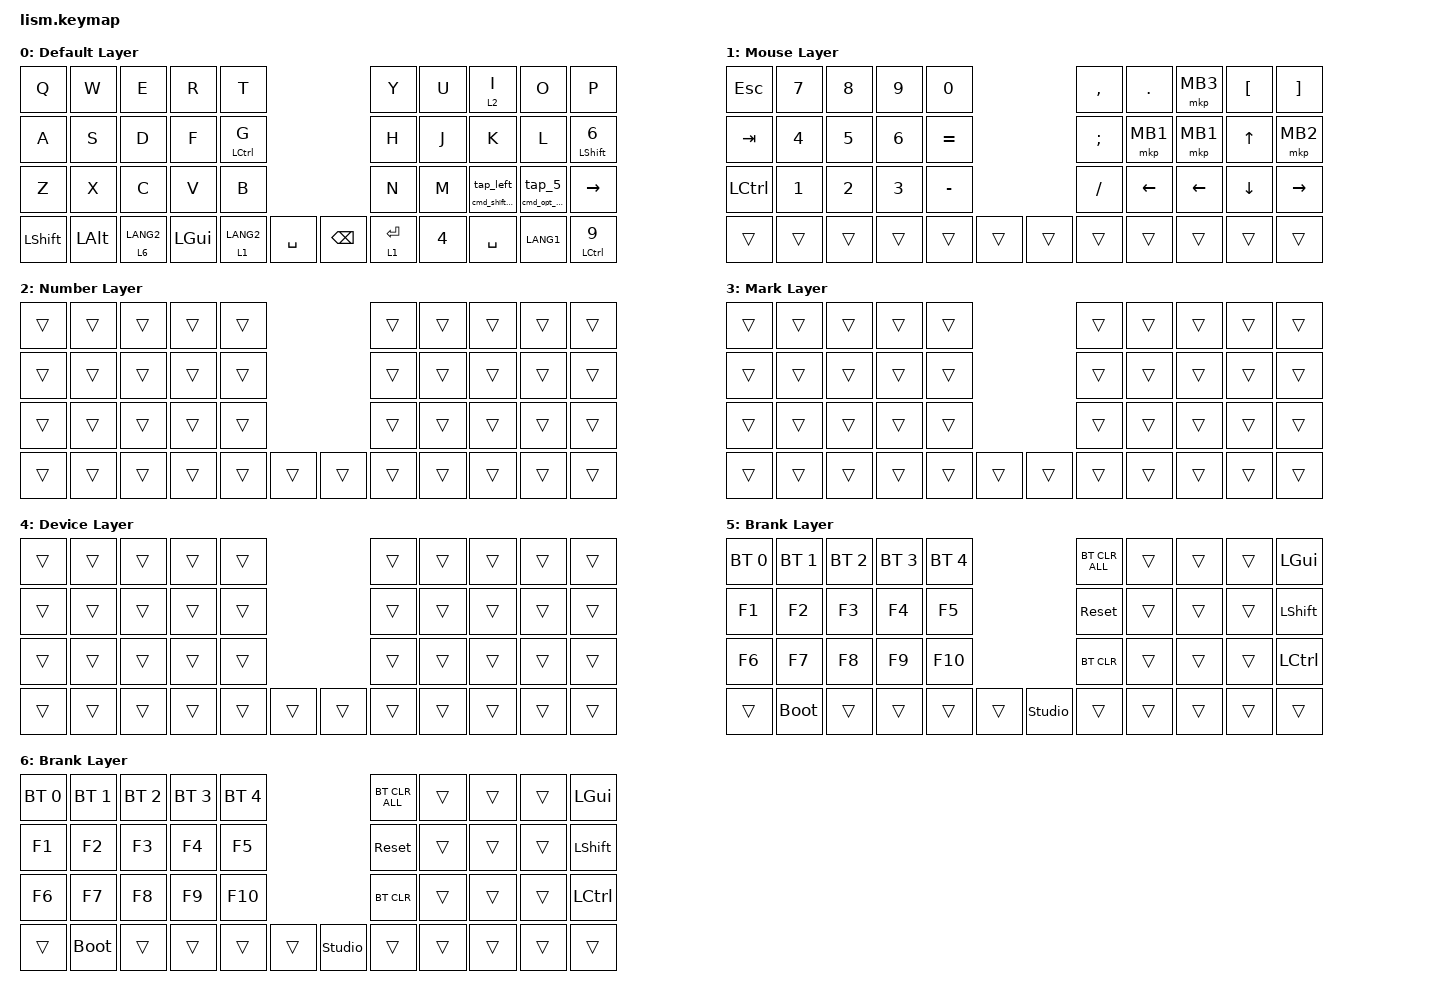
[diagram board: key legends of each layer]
#define ZMK_POINTING_DEFAULT_SCRL_VAL 200

#include <dt-bindings/zmk/mouse.h>
#include <behaviors.dtsi>
#include <dt-bindings/zmk/bt.h>
#include <dt-bindings/zmk/keys.h>
#include <dt-bindings/zmk/pointing.h>

&mt {
    tapping-term-ms = <270>;
    flavor = "balanced";
    require-prior-idle-ms = <150>;
};

&lt { quick-tap-ms = <0>; };

/ {
    combos {
        compatible = "zmk,combos";

        jp_LANG1 {
            bindings = <&kp LANG1>;
            key-positions = <6 7>;
        };

        en_LANG2 {
            bindings = <&kp LANG2>;
            key-positions = <2 3>;
        };

        tab {
            bindings = <&kp TAB>;
            key-positions = <12 13>;
        };

        shift_tab {
            bindings = <&kp LS(TAB)>;
            key-positions = <11 12>;
        };

        double_quotation {
            bindings = <&kp DOUBLE_QUOTES>;
            key-positions = <20 21>;
        };

        eq {
            bindings = <&kp EQUAL>;
            key-positions = <24 25>;
        };
    };

    macros {
        emoji: emoji_macro {
            compatible = "zmk,behavior-macro";
            label = "EMOJI";
            #binding-cells = <0>;
            bindings =
                <&macro_press>,
                <&kp CAPSLOCK>,
                <&macro_tap>,
                <&kp E>,
                <&macro_release>,
                <&kp CAPSLOCK>;
        };

        /* 次の1打鍵だけ ⌘+Shift を有効化（Sticky） */

        cmd_shift_latch: cmd_shift_latch {
            compatible = "zmk,behavior-macro";
            label = "CMD_SHIFT_LATCH";
            #binding-cells = <0>;
            bindings = <&sk LGUI &sk LSHIFT>;
        };

        /* 次の1打鍵だけ ⌘+Option を有効化（Sticky） */

        cmd_opt_latch: cmd_opt_latch {
            compatible = "zmk,behavior-macro";
            label = "CMD_OPT_LATCH";
            #binding-cells = <0>;
            bindings = <&sk LGUI &sk LALT>;
        };

        /* タップ用の単発キー（必要なら流用） */

        tap_left: tap_left {
            compatible = "zmk,behavior-macro";
            label = "TAP_LEFT";
            #binding-cells = <0>;
            bindings = <&kp LEFT_ARROW>;
        };

        tap_5: tap_5 {
            compatible = "zmk,behavior-macro";
            label = "TAP_5";
            #binding-cells = <0>;
            bindings = <&kp NUMBER_5>;
        };
    };

    behaviors {
        ht_cmdshift_left: ht_cmdshift_left {
            compatible = "zmk,behavior-hold-tap";
            label = "HT_CMDSHIFT_LEFT";
            #binding-cells = <2>;
            tapping-term-ms = <200>;
            bindings = <&cmd_shift_latch &tap_left>;
        };

        ht_cmdopt_5: ht_cmdopt_5 {
            compatible = "zmk,behavior-hold-tap";
            label = "HT_CMDOPT_5";
            #binding-cells = <2>;
            tapping-term-ms = <200>;
            bindings = <&cmd_opt_latch &tap_5>;
        };
    };

    keymap {
        compatible = "zmk,keymap";

        default_layer {
            display-name = "Default Layer";
            bindings = <
&kp Q           &kp W         &kp E        &kp R         &kp T                                    &kp Y        &kp U         &lt 2 I                &kp O             &kp P
&kp A           &kp S         &kp D        &kp F         &mt LCTRL G                              &kp H        &kp J         &kp K                  &kp L             &mt LEFT_SHIFT NUMBER_6
&kp Z           &kp X         &kp C        &kp V         &kp B                                    &kp N        &kp M         &ht_cmdshift_left 0 0  &ht_cmdopt_5 0 0  &kp RIGHT_ARROW
&kp LEFT_SHIFT  &kp LEFT_ALT  &lt 6 LANG2  &kp LEFT_GUI  &lt 1 LANG2  &kp SPACE    &kp BACKSPACE  &lt 1 ENTER  &kp NUMBER_4  &kp SPACE              &kp LANG1         &mt LCTRL NUMBER_9
            >;
        };

        layer_1 {
            display-name = "Mouse Layer";
            bindings = <
&kp ESCAPE  &kp NUMBER_7  &kp NUMBER_8  &kp NUMBER_9  &kp NUMBER_0                    &kp COMMA  &kp PERIOD      &mkp MB3        &kp LBKT        &kp RBKT
&kp TAB     &kp NUMBER_4  &kp NUMBER_5  &kp NUMBER_6  &kp EQUAL                       &kp SEMI   &mkp MB1        &mkp MB1        &kp UP_ARROW    &mkp MB2
&kp LCTRL   &kp NUMBER_1  &kp NUMBER_2  &kp NUMBER_3  &kp MINUS                       &kp SLASH  &kp LEFT_ARROW  &kp LEFT_ARROW  &kp DOWN_ARROW  &kp RIGHT_ARROW
&trans      &trans        &trans        &trans        &trans        &trans    &trans  &trans     &trans          &trans          &trans          &trans
            >;
        };

        layer_2 {
            display-name = "Number Layer";
            bindings = <
&trans  &trans  &trans  &trans  &trans                    &trans  &trans  &trans  &trans  &trans
&trans  &trans  &trans  &trans  &trans                    &trans  &trans  &trans  &trans  &trans
&trans  &trans  &trans  &trans  &trans                    &trans  &trans  &trans  &trans  &trans
&trans  &trans  &trans  &trans  &trans  &trans    &trans  &trans  &trans  &trans  &trans  &trans
            >;
        };

        layer_3 {
            display-name = "Mark Layer";
            bindings = <
&trans  &trans  &trans  &trans  &trans                    &trans  &trans  &trans  &trans  &trans
&trans  &trans  &trans  &trans  &trans                    &trans  &trans  &trans  &trans  &trans
&trans  &trans  &trans  &trans  &trans                    &trans  &trans  &trans  &trans  &trans
&trans  &trans  &trans  &trans  &trans  &trans    &trans  &trans  &trans  &trans  &trans  &trans
            >;
        };

        layer_4 {
            display-name = "Device Layer";
            bindings = <
&trans  &trans  &trans  &trans  &trans                    &trans  &trans  &trans  &trans  &trans
&trans  &trans  &trans  &trans  &trans                    &trans  &trans  &trans  &trans  &trans
&trans  &trans  &trans  &trans  &trans                    &trans  &trans  &trans  &trans  &trans
&trans  &trans  &trans  &trans  &trans  &trans    &trans  &trans  &trans  &trans  &trans  &trans
            >;
        };

        layer_5 {
            status = "reserved";
            display-name = "Brank Layer";
            bindings = <
&trans  &trans  &trans  &trans  &trans                    &trans  &trans  &trans  &trans  &trans
&trans  &trans  &trans  &trans  &trans                    &trans  &trans  &trans  &trans  &trans
&trans  &trans  &trans  &trans  &trans                    &trans  &trans  &trans  &trans  &trans
&trans  &trans  &trans  &trans  &trans  &trans    &trans  &trans  &trans  &trans  &trans  &trans
            >;
        };

        layer_6 {
            display-name = "Brank Layer";
            bindings = <
&bt BT_SEL 0  &bt BT_SEL 1  &bt BT_SEL 2  &bt BT_SEL 3  &bt BT_SEL 4                            &bt BT_CLR_ALL  &trans  &trans  &trans  &kp LEFT_GUI
&kp F1        &kp F2        &kp F3        &kp F4        &kp F5                                  &sys_reset      &trans  &trans  &trans  &kp LEFT_SHIFT
&kp F6        &kp F7        &kp F8        &kp F9        &kp F10                                 &bt BT_CLR      &trans  &trans  &trans  &kp LCTRL
&trans        &bootloader   &trans        &trans        &trans        &trans    &studio_unlock  &trans          &trans  &trans  &trans  &trans
            >;
        };

        layer_7 {
            display-name = "Brank Layer";
            bindings = <
&bt BT_SEL 0  &bt BT_SEL 1  &bt BT_SEL 2  &bt BT_SEL 3  &bt BT_SEL 4                            &bt BT_CLR_ALL  &trans  &trans  &trans  &kp LEFT_GUI
&kp F1        &kp F2        &kp F3        &kp F4        &kp F5                                  &sys_reset      &trans  &trans  &trans  &kp LEFT_SHIFT
&kp F6        &kp F7        &kp F8        &kp F9        &kp F10                                 &bt BT_CLR      &trans  &trans  &trans  &kp LCTRL
&trans        &bootloader   &trans        &trans        &trans        &trans    &studio_unlock  &trans          &trans  &trans  &trans  &trans
            >;
        };
    };
};

